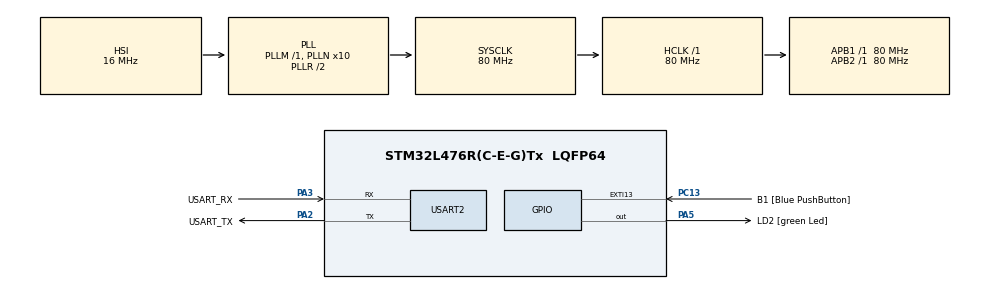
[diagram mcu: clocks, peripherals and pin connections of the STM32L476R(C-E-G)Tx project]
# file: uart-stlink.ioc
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Mcu.Family=STM32L4
Mcu.Name=STM32L476R(C-E-G)Tx
Mcu.Package=LQFP64
NVIC.PriorityGroup=NVIC_PRIORITYGROUP_4
PA13\ (JTMS-SWDIO).GPIO_Label=TMS
PA13\ (JTMS-SWDIO).Signal=SYS_JTMS-SWDIO
PA14\ (JTCK-SWCLK).GPIO_Label=TCK
PA14\ (JTCK-SWCLK).Signal=SYS_JTCK-SWCLK
PA2.GPIO_Label=USART_TX
PA2.GPIO_Mode=GPIO_MODE_AF_PP
PA2.GPIO_PuPd=GPIO_NOPULL
PA2.GPIO_Speed=GPIO_SPEED_FREQ_VERY_HIGH
PA2.Mode=Asynchronous
PA2.Signal=USART2_TX
PA3.GPIO_Label=USART_RX
PA3.GPIO_Mode=GPIO_MODE_AF_PP
PA3.GPIO_PuPd=GPIO_NOPULL
PA3.GPIO_Speed=GPIO_SPEED_FREQ_VERY_HIGH
PA3.Mode=Asynchronous
PA3.Signal=USART2_RX
PA5.GPIO_Label=LD2 [green Led]
PA5.GPIO_ModeDefaultOutputPP=GPIO_MODE_OUTPUT_PP
PA5.GPIO_PuPd=GPIO_NOPULL
PA5.GPIO_Speed=GPIO_SPEED_FREQ_LOW
PA5.Signal=GPIO_Output
PB3\ (JTDO-TRACESWO).GPIO_Label=SWO
PB3\ (JTDO-TRACESWO).Signal=SYS_JTDO-SWO
PC13.GPIO_Label=B1 [Blue PushButton]
PC13.GPIO_ModeDefaultEXTI=GPIO_MODE_IT_FALLING
PC13.GPIO_PuPd=GPIO_NOPULL
PC13.Signal=GPXTI13
PC14-OSC32_IN\ (PC14).Signal=RCC_OSC32_IN
PC15-OSC32_OUT\ (PC15).Signal=RCC_OSC32_OUT
PH0-OSC_IN\ (PH0).Mode=HSE-External-Oscillator
PH0-OSC_IN\ (PH0).Signal=RCC_OSC_IN
PH1-OSC_OUT\ (PH1).Mode=HSE-External-Oscillator
PH1-OSC_OUT\ (PH1).Signal=RCC_OSC_OUT
ProjectManager.HeapSize=0x200
ProjectManager.StackSize=0x400
ProjectManager.TargetToolchain=STM32CubeIDE
RCC.ADCFreq_Value=64000000
RCC.AHBFreq_Value=80000000
RCC.APB1Freq_Value=80000000
RCC.APB1TimFreq_Value=80000000
RCC.APB2Freq_Value=80000000
RCC.APB2TimFreq_Value=80000000
RCC.CortexFreq_Value=80000000
RCC.HCLKFreq_Value=80000000
RCC.HSE_VALUE=8000000
RCC.HSI_VALUE=16000000
RCC.MSI_VALUE=4000000
RCC.PLLN=10
RCC.PLLSourceVirtual=RCC_PLLSOURCE_HSI
RCC.PREFETCH_ENABLE=1
RCC.SYSCLKFreq_VALUE=80000000
RCC.SYSCLKSource=RCC_SYSCLKSOURCE_PLLCLK
RCC.USBFreq_Value=64000000
RCC.VCOOutputFreq_Value=160000000
USART2.VirtualMode-Asynchronous=VM_ASYNC
board=NUCLEO-L476RG

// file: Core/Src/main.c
/* USER CODE BEGIN Header */
/**
  ******************************************************************************
  * @file           : main.c
  * @brief          : Main program body
  ******************************************************************************
  * @attention
  *
  * Copyright (c) 2024 STMicroelectronics.
  * All rights reserved.
  *
  * This software is licensed under terms that can be found in the LICENSE file
  * in the root directory of this software component.
  * If no LICENSE file comes with this software, it is provided AS-IS.
  *
  ******************************************************************************
  */
/* USER CODE END Header */
#include "main.h"
#include "usart.h"
#include "gpio.h"

#include "string.h"

/* USER CODE BEGIN PTD */
typedef enum {
	STATE_1,
	STATE_2,
	STATE_3,
	STATE_MAX
} STATE_TYPE_e;

typedef struct {
	uint8_t state;
	void(*p_state_function)(void);
}state_machine_type_t;

/* USER CODE END PTD */

/* USER CODE BEGIN PD */
void state_1(void);
void state_2(void);
void state_3(void);
void no_entry(void);

/* USER CODE END PD */

/* USER CODE BEGIN PV */
STATE_TYPE_e current_state = STATE_1;
state_machine_type_t state_machine_type[] = {
		{STATE_1, state_1},
		{STATE_2, state_2},
		{STATE_3, state_3}
};

const char tx_massege_0[] = "No entry. Try again. \r\n";
const char tx_massege_1[] = "Menu 1 selected. \r\n";
const char tx_massege_2[] = "Menu 2 selected. \r\n";
const char tx_massege_3[] = "Wrong input! \r\n";
char tx_massege_key[2];

/* USER CODE END PV */

void SystemClock_Config(void);

/* USER CODE BEGIN 0 */
void state_1(void) {
	HAL_UART_Transmit(&huart2, (uint8_t*)tx_massege_1, sizeof(tx_massege_1), 0xFFFF);
}
void state_2(void) {
	HAL_UART_Transmit(&huart2, (uint8_t*)tx_massege_2, sizeof(tx_massege_2), 0xFFFF);
}
void state_3(void) {
	HAL_UART_Transmit(&huart2, (uint8_t*)tx_massege_3, sizeof(tx_massege_3), 0xFFFF);
}

void no_entry(void) {
	  HAL_UART_Transmit(&huart2, (uint8_t*)tx_massege_0, sizeof(tx_massege_0), 0xFFFF);
}

void state_machine_execute(uint8_t new_state) {
	new_state = new_state - '1';
	if(new_state < STATE_MAX) {
	(state_machine_type[new_state].p_state_function)();
	}
	else {
		(*state_machine_type[STATE_3].p_state_function)();
	}
}

/* USER CODE END 0 */

int main(void)
{

  /* MCU Configuration--------------------------------------------------------*/

  /* Reset of all peripherals, Initializes the Flash interface and the Systick. */
  HAL_Init();

  /* Configure the system clock */
  SystemClock_Config();

  /* Initialize all configured peripherals */
  MX_GPIO_Init();
  MX_USART2_UART_Init();
  /* USER CODE BEGIN 2 */
  const char init_message1[] = {"Tranmit/Receive data through STM32 UART routed to the ST-Link Virtual Comm: \r\n"};
  HAL_UART_Transmit(&huart2, (uint8_t*)tx_massege_3, sizeof(tx_massege_3), 0xFFFF);
  const char init_message2[] = {"\n   Enter menu number 1-2 : \r\n"};
  HAL_UART_Transmit(&huart2, (uint8_t*)init_message1, sizeof(init_message1), 0xFFFF);
  HAL_UART_Transmit(&huart2, (uint8_t*)init_message2, sizeof(init_message2), 0xFFFF);

  /* USER CODE END 2 */

  /* Infinite loop */
  /* USER CODE BEGIN WHILE */
  char rec_byte = 0;
  while (1)
  {
	  if(HAL_UART_Receive(&huart2, (uint8_t*)&rec_byte, 1, 5000) == HAL_OK) {
		  if(rec_byte) {
			  tx_massege_key[0] = rec_byte;
			  tx_massege_key[1] = '\n';
			  HAL_UART_Transmit(&huart2, (uint8_t*)&tx_massege_key, sizeof(tx_massege_key), 0xFFFF);
			  state_machine_execute(rec_byte);
			  rec_byte = 0;
		  }
		  else {
			  no_entry();
		  }
	  }
	  else {
		  no_entry();
	  }

    /* USER CODE END WHILE */

  }
}

void SystemClock_Config(void)
{
  RCC_OscInitTypeDef RCC_OscInitStruct = {0};
  RCC_ClkInitTypeDef RCC_ClkInitStruct = {0};

  /** Configure the main internal regulator output voltage
  */
  if (HAL_PWREx_ControlVoltageScaling(PWR_REGULATOR_VOLTAGE_SCALE1) != HAL_OK)
  {
    Error_Handler();
  }

  /** Initializes the RCC Oscillators according to the specified parameters
  * in the RCC_OscInitTypeDef structure.
  */
  RCC_OscInitStruct.OscillatorType = RCC_OSCILLATORTYPE_HSI;
  RCC_OscInitStruct.HSIState = RCC_HSI_ON;
  RCC_OscInitStruct.HSICalibrationValue = RCC_HSICALIBRATION_DEFAULT;
  RCC_OscInitStruct.PLL.PLLState = RCC_PLL_ON;
  RCC_OscInitStruct.PLL.PLLSource = RCC_PLLSOURCE_HSI;
  RCC_OscInitStruct.PLL.PLLM = 1;
  RCC_OscInitStruct.PLL.PLLN = 10;
  RCC_OscInitStruct.PLL.PLLP = RCC_PLLP_DIV7;
  RCC_OscInitStruct.PLL.PLLQ = RCC_PLLQ_DIV2;
  RCC_OscInitStruct.PLL.PLLR = RCC_PLLR_DIV2;
  if (HAL_RCC_OscConfig(&RCC_OscInitStruct) != HAL_OK)
  {
    Error_Handler();
  }

  /** Initializes the CPU, AHB and APB buses clocks
  */
  RCC_ClkInitStruct.ClockType = RCC_CLOCKTYPE_HCLK|RCC_CLOCKTYPE_SYSCLK
                              |RCC_CLOCKTYPE_PCLK1|RCC_CLOCKTYPE_PCLK2;
  RCC_ClkInitStruct.SYSCLKSource = RCC_SYSCLKSOURCE_PLLCLK;
  RCC_ClkInitStruct.AHBCLKDivider = RCC_SYSCLK_DIV1;
  RCC_ClkInitStruct.APB1CLKDivider = RCC_HCLK_DIV1;
  RCC_ClkInitStruct.APB2CLKDivider = RCC_HCLK_DIV1;

  if (HAL_RCC_ClockConfig(&RCC_ClkInitStruct, FLASH_LATENCY_4) != HAL_OK)
  {
    Error_Handler();
  }
}

void Error_Handler(void)
{
  __disable_irq();
  while (1)
  {
  }
}
